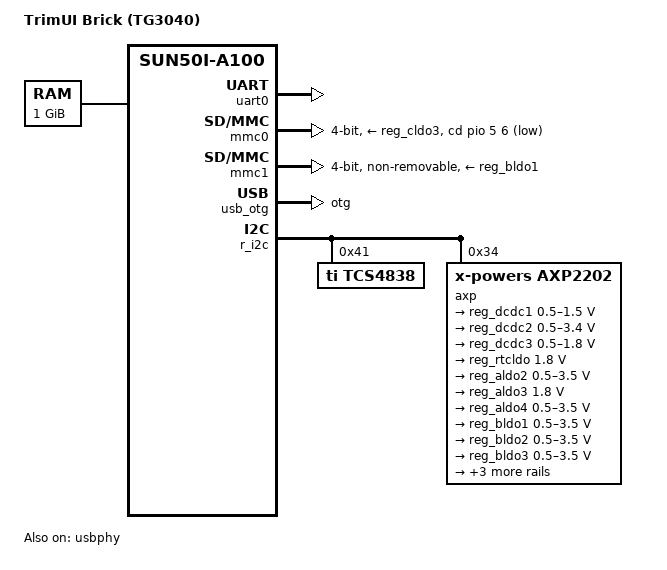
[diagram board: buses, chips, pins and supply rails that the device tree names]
// SPDX-License-Identifier: (GPL-2.0-only OR BSD-2-Clause)
/*
 * Device tree for TrimUI Brick (TG3040) — Allwinner A133 Plus
 *
 * SoC:     Allwinner A133 Plus (sun50i-a100 family; rebinned A100)
 * CPU:     4× Cortex-A53 @ up to 1.8 GHz
 * GPU:     PowerVR GE8300 (Series 8XE) — no mainline driver; not described
 * RAM:     1 GB LPDDR3
 * Storage: microSD only (eMMC present but unused/disabled in vendor firmware)
 * PMIC:    AXP2202 (x-powers) + TCS4838 (CPU VDD regulator)
 * Display: MIPI DSI 3.2" IPS 1024×768, panel: OTM1289A, 4-lane
 * WiFi/BT: AW859A (RTL8852BS) via SDIO on sdc1; BT on uart1
 * USB:     USB-C (OTG, AXP2202 Type-C detection)
 *
 * Mainline bringup status (kernel 7.0):
 *   EXPECTED:  UART console, SD card, USB OTG, simplefb, PMIC, LRADC keys
 *   PARTIAL:   PMIC regulators (mapped from vendor DTB; not multimeter-verified)
 *   MISSING:   GPU (PowerVR), WiFi driver (out-of-tree), audio codec, DSI panel
 *
 * Vendor DTB source: extracted from boot_package.fex at offset 0xe6000 (148689 B)
 *   TCS4838 voltage regulator (s_twi, 0x41): dcdc0/dcdc1 supply CPU/SYS
 *   AXP2202 (s_twi, 0x34): cldo3 → vmmc (SD/eMMC), cldo1 → vqmmc + audio cpvin
 *   LCD: OTM1289A DSI, PWM0 backlight, BL-EN = PH18, RST = PD22
 *   Speaker PA enable: PH6 (active-high)
 *   SD card CD: PF6 (active-low, cd-used-24M in vendor)
 */

#include "sun50i-a100.dtsi"
#include <dt-bindings/gpio/gpio.h>
#include <dt-bindings/input/linux-event-codes.h>
#include <dt-bindings/interrupt-controller/arm-gic.h>

/ {
	model = "TrimUI Brick (TG3040)";
	compatible = "trimui,brick", "allwinner,sun50i-a133",
		     "allwinner,sun50i-a100";

	aliases {
		serial0 = &uart0;
		mmc0    = &mmc0;   /* microSD */
		mmc1    = &mmc1;   /* SDIO / WiFi (AW859A) */
	};

	chosen {
		stdout-path = "serial0:115200n8";
	};

	memory@40000000 {
		device_type = "memory";
		reg = <0x0 0x40000000 0x0 0x40000000>;
	};

	/*
	 * Simple framebuffer inherited from vendor U-Boot display init.
	 * Vendor U-Boot (in boot_package.fex) initialises the OTM1289A DSI
	 * panel at 1024×768 and allocates a linear ARGB32 framebuffer.
	 * Leave disabled — U-Boot passes a /framebuffer node via DT fixup,
	 * or enable and hardcode the base address once confirmed from
	 * /proc/iomem on a running vendor kernel.
	 */
	framebuffer: framebuffer@0 {
		compatible = "simple-framebuffer";
		/* reg = <0x0 0x???? 0x0 0x300000>; — 1024*768*4 = 3 MB */
		width  = <1024>;
		height = <768>;
		stride = <4096>;	/* 1024 px * 4 B/px */
		format = "a8r8g8b8";
		status = "disabled";
	};

	/*
	 * LRADC-based buttons (vendor: "allwinner,keyboard_1350mv", VREF=1350mV).
	 * Register in vendor DTB: 0x05070800. Voltages extracted from vendor DTB.
	 * Volume keys route through LRADC; all other buttons are on a GPIO matrix
	 * (not yet traced from PCB).
	 *
	 * For mainline, add an lradc node in sun50i-a100.dtsi if not present,
	 * using compatible "allwinner,sun50i-a100-lradc-keys" or the generic
	 * "allwinner,sun4i-a10-lradc-keys" depending on driver match.
	 * Voltage → key mapping from vendor DTB:
	 *   ~646 mV  → KEY_VOLUMEDOWN
	 *   ~750 mV  → KEY_ENTER
	 *   ~880 mV  → KEY_HOME
	 *   ~900 mV  → KEY_VOLUMEUP
	 */

	/* GPIO button matrix — TODO: trace PCB for D-pad / face buttons */
};

/* ── Serial console (UART0) ──────────────────────────────────────────────── */
&uart0 {
	pinctrl-0 = <&uart0_pb_pins>;
	pinctrl-names = "default";
	status = "okay";
};

/* ── microSD (mmc0, 4-bit) ───────────────────────────────────────────────── */
&mmc0 {
	pinctrl-0 = <&mmc0_pins>;
	pinctrl-names = "default";
	vmmc-supply   = <&reg_cldo3>;
	vqmmc-supply  = <&reg_cldo1>;
	cd-gpios = <&pio 5 6 GPIO_ACTIVE_LOW>;	/* PF6, from vendor DTB */
	bus-width = <4>;
	status = "okay";
};

/*
 * eMMC (mmc2) — present on SoC but disabled in vendor firmware.
 * The TrimUI Brick boots exclusively from microSD (mmcblk0).
 * Vendor DTB has sdc2 status = "disabled". Leave disabled here too.
 */
&mmc2 {
	bus-width = <8>;
	status = "disabled";
};

/* ── SDIO / WiFi — AW859A (RTL8852BS) on sdc1 ───────────────────────────── */
&mmc1 {
	pinctrl-0 = <&mmc1_pins>;
	pinctrl-names = "default";
	vmmc-supply  = <&reg_bldo1>;
	vqmmc-supply = <&reg_aldo3>;
	bus-width = <4>;
	cap-sdio-irq;
	keep-power-in-suspend;
	mmc-pwrseq = <&wifi_pwrseq>;
	non-removable;
	status = "okay";
};

/* ── USB OTG (USB-C port) ────────────────────────────────────────────────── */
&usb_otg {
	dr_mode = "otg";
	status = "okay";
};

&usbphy {
	/*
	 * VBUS detect is via AXP2202 USB power supply (pmu_vbus_det_gpio in
	 * vendor DTB: PH13). ID detection also via AXP2202 (pmu_acin_usbid_drv:
	 * PH12). No separate id/vbus GPIOs needed in mainline — AXP2202 handles
	 * it via its USB supply extcon.
	 */
	status = "okay";
};

/* ── AXP2202 PMIC (R_TWI / s_twi at 0x07081400, address 0x34) ───────────── */
&r_i2c {
	status = "okay";

	/* TCS4838 CPU/SYS voltage regulator — always-on, managed by U-Boot */
	tcs4838: regulator@41 {
		compatible = "ti,tcs4838";
		reg = <0x41>;
	};

	axp: pmic@34 {
		compatible = "x-powers,axp2202";
		reg = <0x34>;
		interrupt-parent = <&nmi_intc>;
		interrupts = <0 IRQ_TYPE_LEVEL_LOW>;
		interrupt-controller;
		#interrupt-cells = <1>;
		x-powers,drive-vbus-en;
		wakeup-source;

		axp_adc: adc {
			compatible = "x-powers,axp2202-adc";
			#io-channel-cells = <1>;
		};

		axp_bat: battery-power-supply {
			compatible = "x-powers,axp2202-battery-power-supply";
		};

		axp_ac: ac-power-supply {
			compatible = "x-powers,axp2202-ac-power-supply";
			input-current-limit-microamp = <2000000>;
		};

		axp_keys: input {
			compatible = "x-powers,axp2202-pek";
			interrupt-parent = <&axp>;
			interrupts = <0>;
		};

		/*
		 * Regulator constraints derived from vendor DTB.
		 * always-on/boot-on flags preserved from vendor; voltages are
		 * vendor defaults — verify with multimeter before relying on them.
		 *
		 * Rail assignments (best-guess from vendor DTS consumer props):
		 *   dcdc1     → VDD-CPU (via TCS4838 on s_twi too)
		 *   dcdc2     → VCC-SYS
		 *   dcdc3     → VCC-IO (1.8 V I/O domain)
		 *   aldo3     → VCC-WIFI-IO (1.8 V, wlan_io_regulator)
		 *   aldo4     → AVCC (audio codec)
		 *   bldo1     → VCC-WIFI (WiFi module power)
		 *   bldo3     → (always-on, suspend-off — likely VCC-DSP)
		 *   cldo1     → VCC-LCD / audio cpvin / SD vqmmc-1v8
		 *   cldo3     → VCC-SD (vmmc for SD card and eMMC; boot-on)
		 *   cldo4     → VCC-LCD2
		 */
		regulators {
			reg_dcdc1: dcdc1 {
				regulator-name = "vdd-cpu";
				regulator-min-microvolt = <500000>;
				regulator-max-microvolt = <1500000>;
				regulator-ramp-delay = <250>;
				regulator-always-on;
			};

			reg_dcdc2: dcdc2 {
				regulator-name = "vcc-sys";
				regulator-min-microvolt = <500000>;
				regulator-max-microvolt = <3400000>;
				regulator-ramp-delay = <250>;
				regulator-always-on;
			};

			reg_dcdc3: dcdc3 {
				regulator-name = "vcc-io";
				regulator-min-microvolt = <500000>;
				regulator-max-microvolt = <1800000>;
				regulator-always-on;
			};

			reg_rtcldo: rtcldo {
				regulator-name = "vcc-rtc";
				regulator-min-microvolt = <1800000>;
				regulator-max-microvolt = <1800000>;
				regulator-always-on;
			};

			reg_aldo2: aldo2 {
				regulator-name = "vcc-aldo2";
				regulator-min-microvolt = <500000>;
				regulator-max-microvolt = <3500000>;
				regulator-always-on;
			};

			reg_aldo3: aldo3 {
				regulator-name = "vcc-wifi-io";
				regulator-min-microvolt = <1800000>;
				regulator-max-microvolt = <1800000>;
				regulator-always-on;
			};

			reg_aldo4: aldo4 {
				regulator-name = "vcc-avcc";
				regulator-min-microvolt = <500000>;
				regulator-max-microvolt = <3500000>;
				regulator-always-on;
			};

			reg_bldo1: bldo1 {
				regulator-name = "vcc-wifi";
				regulator-min-microvolt = <500000>;
				regulator-max-microvolt = <3500000>;
			};

			reg_bldo2: bldo2 {
				regulator-name = "vcc-bldo2";
				regulator-min-microvolt = <500000>;
				regulator-max-microvolt = <3500000>;
				regulator-always-on;
			};

			reg_bldo3: bldo3 {
				regulator-name = "vcc-dsp";
				regulator-min-microvolt = <500000>;
				regulator-max-microvolt = <3500000>;
				regulator-always-on;
				regulator-off-in-suspend;
			};

			reg_cldo1: cldo1 {
				regulator-name = "vcc-lcd";
				regulator-min-microvolt = <500000>;
				regulator-max-microvolt = <3500000>;
			};

			reg_cldo3: cldo3 {
				regulator-name = "vcc-sd";
				regulator-min-microvolt = <500000>;
				regulator-max-microvolt = <3500000>;
				regulator-enable-ramp-delay = <1000>;
			};

			reg_cldo4: cldo4 {
				regulator-name = "vcc-lcd2";
				regulator-min-microvolt = <500000>;
				regulator-max-microvolt = <3500000>;
			};
		};
	};
};

/*
 * WiFi power sequencing.
 * wlan_regon: PL5 (r_pio port L=11, pin 5) per vendor DTB.
 * Adjust the gpio phandle to &r_pio and correct port/pin if sun50i-a100.dtsi
 * names the R-domain GPIO controller differently.
 */
wifi_pwrseq: wifi-pwrseq {
	compatible = "mmc-pwrseq-simple";
	reset-gpios = <&r_pio 0 5 GPIO_ACTIVE_LOW>;	/* PL5 */
	post-power-on-delay-ms = <200>;
};

/*
 * Internal audio codec (Allwinner sun50i-a100 codec, same family as sun50i).
 * Speaker PA enable: PH6 (gpio-spk from vendor DTB).
 * AVCC supply: axp2202-aldo4 (avcc-supply in vendor DTB).
 *
 * The internal codec driver for A100/A133 is not yet upstreamed (as of 7.0).
 * When it is, add:
 *   &codec {
 *       status = "okay";
 *       allwinner,audio-routing = "Speaker", "LINEOUT";
 *       allwinner,pa-gpios = <&pio 7 6 GPIO_ACTIVE_HIGH>;
 *       avcc-supply = <&reg_aldo4>;
 *   };
 */
